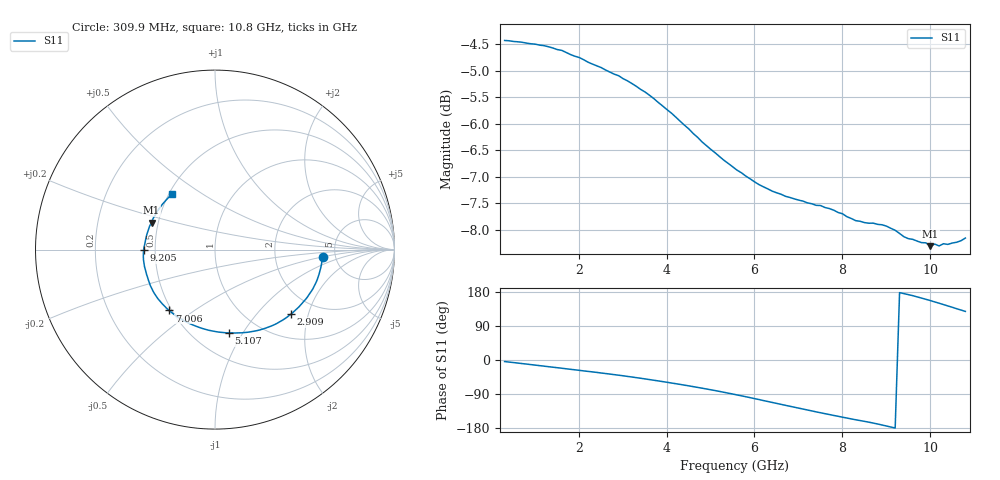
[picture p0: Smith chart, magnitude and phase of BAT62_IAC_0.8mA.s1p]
! Infineon Technologies  Discrete & RF Semiconductors
! BAT62
! IAC = 0.8 mA
! One-Port S-Parameters
# Hz  S  MA  R  50
!f  S11
!Hz  Mag  Ang
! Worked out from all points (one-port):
!   106 points, 309.9 MHz to 10.8 GHz, reference 50 ohm
!   lowest |S11| = -8.3 dB at 10.01 GHz (marker M1), VSWR 2.25, Z = 23 + j8.13 ohm
!   |S11| at or under -10 dB: nowhere
!   S11 on the Smith chart (normalised r, x): 309.9 MHz: 3.93, -0.53; 2.909 GHz: 1.50, -1.56; 5.107 GHz: 0.73, -0.87; 7.006 GHz: 0.48, -0.40; 9.205 GHz: 0.43, -0.00; 10.8 GHz: 0.52, +0.38
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3.0985e8  0.6005 -4.1
1.0095e9  0.5957 -13.5
1.4093e9  0.5908 -19.0
1.70915e9  0.5851 -23.1
2.4088e9  0.5683 -32.7
2.90855e9  0.5563 -40.2
3.0085e9  0.5527 -41.6
3.70815e9  0.5293 -53.4
4.30785e9  0.504 -64.4
4.70765e9  0.4866 -72.3
5.10745e9  0.4705 -80.8
5.6072e9  0.4531 -92.3
5.90705e9  0.4446 -99.5
6.30685e9  0.4351 -109.5
6.90655e9  0.4258 -124.5
7.0065e9  0.4247 -127.0
7.6062e9  0.4179 -141.6
8.006e9  0.4123 -151.0
8.2059e9  0.4081 -155.5
8.70565e9  0.404 -166.4
9.0055e9  0.4014 -174.1
9.2054e9  0.3977 -179.6
9.50525e9  0.3906 172.5
9.8051e9  0.3872 163.4
1.0005e10  0.3843 156.9
1.030485e10  0.3863 146.3
1.050475e10  0.3869 139.2
1.08046e10  0.3911 128.2
